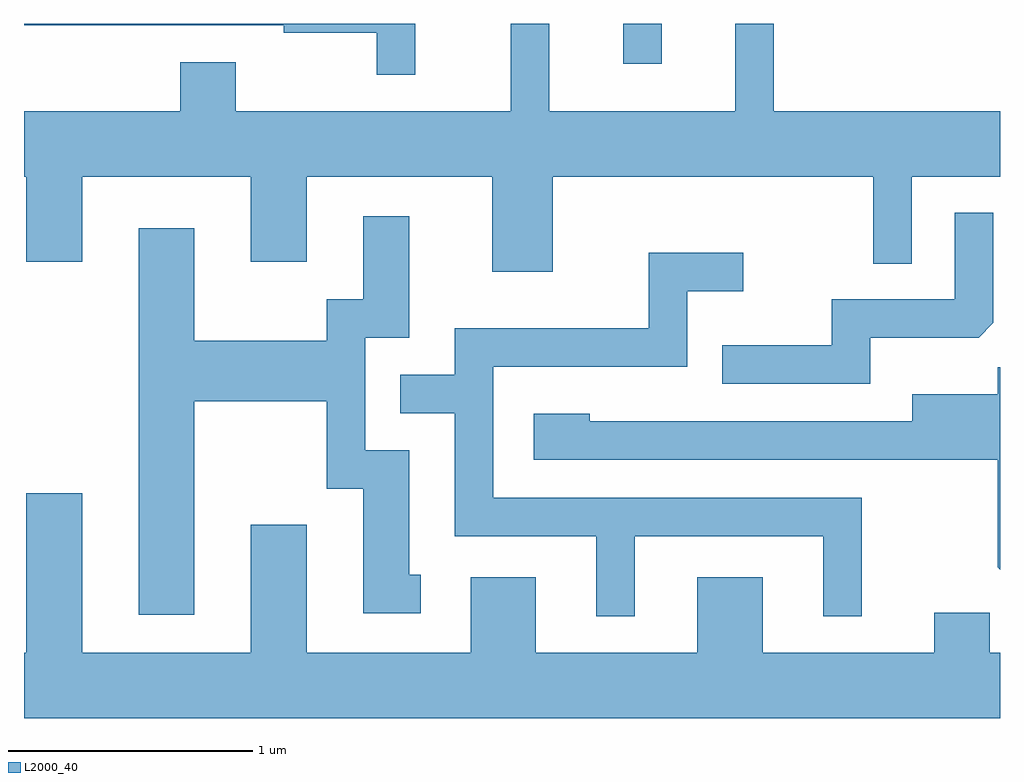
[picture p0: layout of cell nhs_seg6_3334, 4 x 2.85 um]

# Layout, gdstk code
import gdstk
lib = gdstk.Library(unit=1e-6, precision=1e-09)
def R(c, l, rs):  # rectangles x0, y0, x1, y1
    for r in rs: c.add(gdstk.rectangle(r[:2], r[2:], *l))
def P(c, l, *ps):  # polygons
    for p in ps: c.add(gdstk.Polygon(p, *l))
L2000_40 = (2000, 40)

nhs_seg6_3334 = lib.new_cell('nhs_seg6_3334')
R(nhs_seg6_3334, L2000_40, [(288.066,1605.998,288.224,1606.162)])
P(nhs_seg6_3334, L2000_40, [(287.214,1606.162),(285.611,1606.162),(285.611,1606.156),(286.676,1606.156),(286.676,1606.126),(287.056,1606.126),(287.056,1605.953),(287.214,1605.953)],
  [(289.091,1605.178),(289.249,1605.178),(289.249,1605.536),(289.611,1605.536),(289.611,1605.804),(288.684,1605.804),(288.684,1606.162),(288.526,1606.162),(288.526,1605.804),(287.764,1605.804),(287.764,1606.162),(287.606,1606.162),(287.606,1605.804),(286.479,1605.804),(286.479,1606.004),(286.251,1606.004),(286.251,1605.804),(285.611,1605.804),(285.611,1605.536),(285.621,1605.536),(285.621,1605.186),(285.849,1605.186),(285.849,1605.536),(286.541,1605.536),(286.541,1605.186),(286.769,1605.186),(286.769,1605.536),(287.531,1605.536),(287.531,1605.146),(287.779,1605.146),(287.779,1605.536),(289.091,1605.536)],
  [(289.079,1604.876),(289.524,1604.876),(289.584,1604.937),(289.584,1605.388),(289.426,1605.388),(289.426,1605.034),(288.921,1605.034),(288.921,1604.844),(288.473,1604.844),(288.473,1604.686),(289.079,1604.686)],
  [(286.309,1604.616),(286.851,1604.616),(286.851,1604.256),(287.001,1604.256),(287.001,1603.746),(287.238,1603.746),(287.238,1603.904),(287.189,1603.904),(287.189,1604.414),(287.009,1604.414),(287.009,1604.876),(287.189,1604.876),(287.189,1605.374),(287.001,1605.374),(287.001,1605.034),(286.851,1605.034),(286.851,1604.864),(286.309,1604.864),(286.309,1605.324),(286.081,1605.324),(286.081,1603.741),(286.309,1603.741)],
  [(288.114,1604.061),(288.886,1604.061),(288.886,1603.733),(289.044,1603.733),(289.044,1604.219),(287.534,1604.219),(287.534,1604.756),(288.329,1604.756),(288.329,1605.066),(288.558,1605.066),(288.558,1605.224),(288.171,1605.224),(288.171,1604.914),(287.376,1604.914),(287.376,1604.724),(287.153,1604.724),(287.153,1604.566),(287.376,1604.566),(287.376,1604.061),(287.956,1604.061),(287.956,1603.733),(288.114,1603.733)],
  [(289.611,1604.754),(289.601,1604.754),(289.601,1604.644),(289.251,1604.644),(289.251,1604.534),(287.929,1604.534),(287.929,1604.564),(287.701,1604.564),(287.701,1604.376),(289.601,1604.376),(289.601,1603.934),(289.611,1603.924)],
  [(289.611,1603.584),(289.569,1603.584),(289.569,1603.749),(289.341,1603.749),(289.341,1603.584),(288.639,1603.584),(288.639,1603.894),(288.371,1603.894),(288.371,1603.584),(287.709,1603.584),(287.709,1603.894),(287.441,1603.894),(287.441,1603.584),(286.769,1603.584),(286.769,1604.109),(286.541,1604.109),(286.541,1603.584),(285.849,1603.584),(285.849,1604.239),(285.621,1604.239),(285.621,1603.584),(285.611,1603.584),(285.611,1603.316),(289.611,1603.316)])

lib.write_gds('nhs_seg6_3334.gds')
